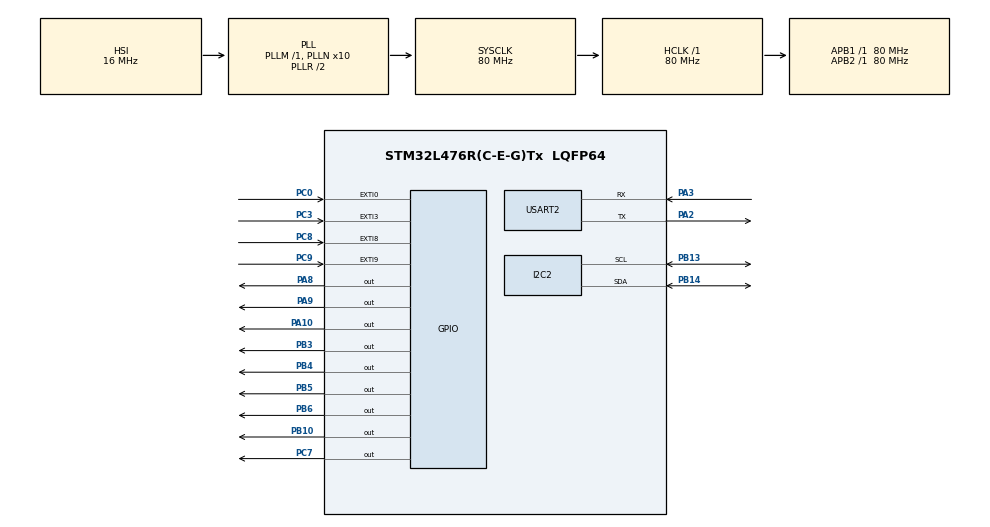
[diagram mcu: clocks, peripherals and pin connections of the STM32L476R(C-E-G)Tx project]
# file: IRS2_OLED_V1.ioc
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I2C2.CustomTiming=Disabled
I2C2.Timing=0x00503D58
Mcu.Family=STM32L4
Mcu.Name=STM32L476R(C-E-G)Tx
Mcu.Package=LQFP64
NVIC.EXTI0_IRQn=true\:0\:0\:false\:false\:true\:true\:true\:true
NVIC.EXTI3_IRQn=true\:0\:0\:false\:false\:true\:true\:true\:true
NVIC.EXTI9_5_IRQn=true\:0\:0\:false\:false\:true\:true\:true\:true
NVIC.PriorityGroup=NVIC_PRIORITYGROUP_4
NVIC.TIM3_IRQn=true\:0\:0\:false\:false\:true\:true\:true\:true
PA10.PinState=GPIO_PIN_SET
PA10.Signal=GPIO_Output
PA2.Mode=Asynchronous
PA2.Signal=USART2_TX
PA3.Mode=Asynchronous
PA3.Signal=USART2_RX
PA8.PinState=GPIO_PIN_SET
PA8.Signal=GPIO_Output
PA9.PinState=GPIO_PIN_SET
PA9.Signal=GPIO_Output
PB10.PinState=GPIO_PIN_SET
PB10.Signal=GPIO_Output
PB13.GPIO_Mode=GPIO_MODE_AF_OD
PB13.GPIO_Pu=GPIO_PULLUP
PB13.Mode=I2C
PB13.Signal=I2C2_SCL
PB14.GPIO_Mode=GPIO_MODE_AF_OD
PB14.GPIO_Pu=GPIO_PULLUP
PB14.Mode=I2C
PB14.Signal=I2C2_SDA
PB3\ (JTDO-TRACESWO).Signal=GPIO_Output
PB4\ (NJTRST).Signal=GPIO_Output
PB5.Signal=GPIO_Output
PB6.Signal=GPIO_Output
PC0.GPIO_ModeDefaultEXTI=GPIO_MODE_IT_FALLING
PC0.GPIO_PuPd=GPIO_PULLUP
PC0.Signal=GPXTI0
PC3.GPIO_ModeDefaultEXTI=GPIO_MODE_IT_FALLING
PC3.GPIO_PuPd=GPIO_PULLUP
PC3.Signal=GPXTI3
PC7.Signal=GPIO_Output
PC8.GPIO_ModeDefaultEXTI=GPIO_MODE_IT_FALLING
PC8.GPIO_PuPd=GPIO_PULLUP
PC8.Signal=GPXTI8
PC9.GPIO_ModeDefaultEXTI=GPIO_MODE_IT_FALLING
PC9.GPIO_PuPd=GPIO_PULLUP
PC9.Signal=GPXTI9
ProjectManager.HeapSize=0x200
ProjectManager.StackSize=0x400
ProjectManager.TargetToolchain=STM32CubeIDE
RCC.ADCFreq_Value=64000000
RCC.AHBFreq_Value=80000000
RCC.APB1Freq_Value=80000000
RCC.APB1TimFreq_Value=80000000
RCC.APB2Freq_Value=80000000
RCC.APB2TimFreq_Value=80000000
RCC.CortexFreq_Value=80000000
RCC.HCLKFreq_Value=80000000
RCC.HSE_VALUE=8000000
RCC.HSI_VALUE=16000000
RCC.I2C2CLockSelection=RCC_I2C2CLKSOURCE_HSI
RCC.LSE_VALUE=32768
RCC.MSI_VALUE=4000000
RCC.PLLN=10
RCC.PLLSourceVirtual=RCC_PLLSOURCE_HSI
RCC.PREFETCH_ENABLE=1
RCC.SYSCLKFreq_VALUE=80000000
RCC.SYSCLKSource=RCC_SYSCLKSOURCE_PLLCLK
RCC.USBFreq_Value=64000000
RCC.VCOOutputFreq_Value=160000000
TIM3.AutoReloadPreload=TIM_AUTORELOAD_PRELOAD_DISABLE
TIM3.Period=49
TIM3.Prescaler=7999
USART2.VirtualMode-Asynchronous=VM_ASYNC
VP_TIM2_VS_ClockSourceINT.Mode=Internal
VP_TIM3_VS_ClockSourceINT.Mode=Internal
board=NUCLEO-L476RG

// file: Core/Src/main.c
/* USER CODE BEGIN Header */
/**
 ******************************************************************************
 * @file           : main.c
 * @brief          : Main program body
 ******************************************************************************
 * @attention
 *
 * Copyright (c) 2022 STMicroelectronics.
 * All rights reserved.
 *
 * This software is licensed under terms that can be found in the LICENSE file
 * in the root directory of this software component.
 * If no LICENSE file comes with this software, it is provided AS-IS.
 *
 ******************************************************************************
 */
/* USER CODE END Header */
#include "main.h"
#include "i2c.h"
#include "tim.h"
#include "usart.h"
#include "gpio.h"

/* USER CODE BEGIN Includes */
#include <stdio.h>
#include "tetris.h"
#include "7seg.h"
#include "display.h"
/* USER CODE END Includes */

void SystemClock_Config(void);

int main(void)
{

  /* MCU Configuration--------------------------------------------------------*/

  /* Reset of all peripherals, Initializes the Flash interface and the Systick. */
  HAL_Init();

  /* Configure the system clock */
  SystemClock_Config();

  /* Initialize all configured peripherals */
  MX_GPIO_Init();
  MX_I2C2_Init();
  MX_USART2_UART_Init();
  MX_TIM2_Init();
  MX_TIM3_Init();
  /* USER CODE BEGIN 2 */
  SevenSeg_Init();

  HAL_TIM_Base_Start(&htim2);
  HAL_TIM_Base_Start_IT(&htim3);

  SSD1306_Find_Device_Address(&hi2c2);// Finds SSD1306 OLED private address for I2C communication
  DISPLAY_Init(&hi2c2);// Initializes SSD1306 display to be ready for showing content
  DISPLAY_Show_Test_Page(&hi2c2);	// Writing some example on SSD1306 display

  Tetris_Main_Menu();
  Tetris_Init();

  printf("Tetris started!\r\n");
  /* USER CODE END 2 */

  /* Infinite loop */
  while (1) {

    /* USER CODE BEGIN 3 */

	Tetris_HandleInput();

	Tetris_Update();

	Tetris_Draw();

  }
  /* USER CODE END 3 */
}

void SystemClock_Config(void)
{
  RCC_OscInitTypeDef RCC_OscInitStruct = {0};
  RCC_ClkInitTypeDef RCC_ClkInitStruct = {0};

  /** Configure the main internal regulator output voltage
  */
  if (HAL_PWREx_ControlVoltageScaling(PWR_REGULATOR_VOLTAGE_SCALE1) != HAL_OK)
  {
    Error_Handler();
  }

  /** Initializes the RCC Oscillators according to the specified parameters
  * in the RCC_OscInitTypeDef structure.
  */
  RCC_OscInitStruct.OscillatorType = RCC_OSCILLATORTYPE_HSI;
  RCC_OscInitStruct.HSIState = RCC_HSI_ON;
  RCC_OscInitStruct.HSICalibrationValue = RCC_HSICALIBRATION_DEFAULT;
  RCC_OscInitStruct.PLL.PLLState = RCC_PLL_ON;
  RCC_OscInitStruct.PLL.PLLSource = RCC_PLLSOURCE_HSI;
  RCC_OscInitStruct.PLL.PLLM = 1;
  RCC_OscInitStruct.PLL.PLLN = 10;
  RCC_OscInitStruct.PLL.PLLP = RCC_PLLP_DIV7;
  RCC_OscInitStruct.PLL.PLLQ = RCC_PLLQ_DIV2;
  RCC_OscInitStruct.PLL.PLLR = RCC_PLLR_DIV2;
  if (HAL_RCC_OscConfig(&RCC_OscInitStruct) != HAL_OK)
  {
    Error_Handler();
  }

  /** Initializes the CPU, AHB and APB buses clocks
  */
  RCC_ClkInitStruct.ClockType = RCC_CLOCKTYPE_HCLK|RCC_CLOCKTYPE_SYSCLK
                              |RCC_CLOCKTYPE_PCLK1|RCC_CLOCKTYPE_PCLK2;
  RCC_ClkInitStruct.SYSCLKSource = RCC_SYSCLKSOURCE_PLLCLK;
  RCC_ClkInitStruct.AHBCLKDivider = RCC_SYSCLK_DIV1;
  RCC_ClkInitStruct.APB1CLKDivider = RCC_HCLK_DIV1;
  RCC_ClkInitStruct.APB2CLKDivider = RCC_HCLK_DIV1;

  if (HAL_RCC_ClockConfig(&RCC_ClkInitStruct, FLASH_LATENCY_4) != HAL_OK)
  {
    Error_Handler();
  }
}

/* USER CODE BEGIN 4 */

void DISPLAY_Show_Test_Page(I2C_HandleTypeDef *i2cHandler) {
	page_container_t container;
	container.header = "TETRIS GAME";
	container.line_one = "Click SW1 to play";
	container.line_two = "";
	container.line_three = "";
	DISPLAY_Draw_Page(i2cHandler, &container);

}
int __io_putchar(int ch)
{
    HAL_UART_Transmit(&huart2, (uint8_t *)&ch, 1, HAL_MAX_DELAY);
    return ch;
}

/* USER CODE END 4 */

void Error_Handler(void)
{
	__disable_irq();
	while (1) {
	}
}
